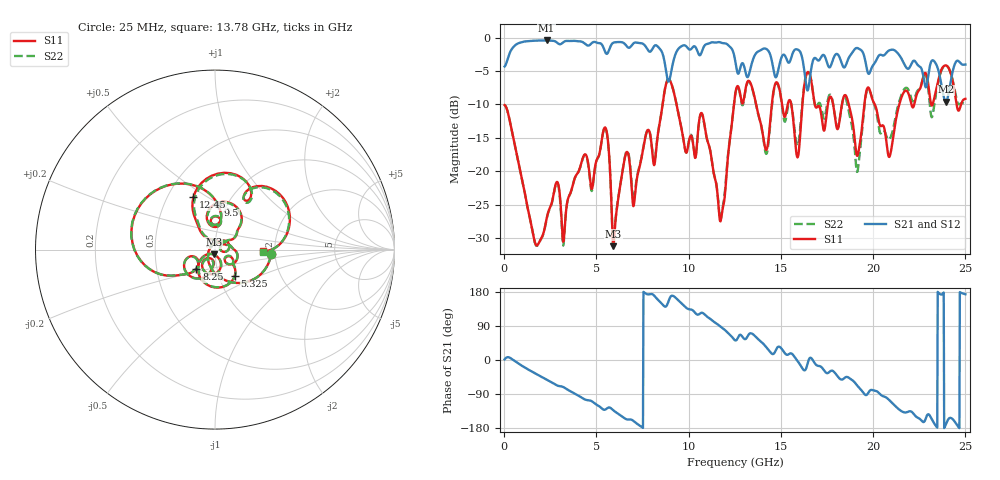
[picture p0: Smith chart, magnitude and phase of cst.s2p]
! R_s4_lshape_n0: L-shaped planes (24 × 16 mm minus an 8 × 6 mm corner), via L1 → L4, no return via
! stackup: 4-layer 1.6 mm FR-4
! ports: 1 L1, 2 L4
! CST Studio Suite 2025.5 Release from 2025-05-30, time domain (FIT, hexahedral, PBA), 283712 mesh cells, 70 s
! mesh: {'lpw': 20, 'lpb': 20, 'minstep': 0.0, 'ratio': 20}; ports: port 1 (face); port 2 (face)
! interpolated from CST's 1001 samples to the case grid
# Hz S RI R 50
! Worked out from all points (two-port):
!   1000 points, 25 MHz to 25 GHz, reference 50 ohm
!   highest |S21| = -0.43 dB at 2.3 GHz (marker M1); lowest = -9.6 dB at 23.95 GHz (marker M2)
!   |S21| within 3 dB of the highest: 163.7 MHz to 8.681 GHz (8.517 GHz wide, 193 % of centre); 9.182 GHz to 12.52 GHz (3.339 GHz wide, 30.8 % of centre)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
!   lowest |S11| = -31.2 dB at 5.925 GHz (marker M3), VSWR 1.06, Z = 49.3 - j2.65 ohm
!   |S11| at or under -10 dB: start of sweep to 8.589 GHz; 9.344 GHz to 12.45 GHz (3.108 GHz wide, 28.5 % of centre); 20.09 GHz to 21.42 GHz (1.325 GHz wide, 6.38 % of centre)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
!   |S22| runs from -31.1 to -4.2 dB; largest |S21 - S12| = 0.00025
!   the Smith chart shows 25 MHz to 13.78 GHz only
!   S11 on the Smith chart (normalised r, x): 25 MHz: 1.90, -0.11; 5.325 GHz: 1.19, -0.36; 8.25 GHz: 0.79, -0.18; 9.5 GHz: 0.91, +0.48; 12.45 GHz: 0.67, +0.43; 13.78 GHz: 1.73, -0.04
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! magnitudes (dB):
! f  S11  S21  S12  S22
! 25 MHz  -10.1  -4.3  -4.3  -10.1
! 1.675 GHz  -30.7  -0.5  -0.5  -30.7
! 2.3 GHz  -27.1  -0.4  -0.4  -27.2
! 4.2 GHz  -18.6  -0.6  -0.6  -18.6
! 5.325 GHz  -14.7  -1.2  -1.2  -14.7
! 5.925 GHz  -31.2  -0.8  -0.8  -31.0
! 6.6 GHz  -17.3  -1.1  -1.1  -17.2
! 8.25 GHz  -16.5  -1.2  -1.2  -16.4
! 8.35 GHz  -14.1  -1.4  -1.4  -14.0
! 9.5 GHz  -12.1  -1.5  -1.5  -12.1
! 10.75 GHz  -11.5  -1.9  -1.9  -11.6
! 11.75 GHz  -27.2  -0.8  -0.8  -27.0
! 12.45 GHz  -10.0  -2.5  -2.5  -10.1
! 12.53 GHz  -8.4  -3.5  -3.5  -8.5
! 13.78 GHz  -11.5  -2.1  -2.1  -11.5
! 14.22 GHz  -16.7  -1.7  -1.7  -17.4
! 14.8 GHz  -6.7  -5.5  -5.5  -6.9
! 15.9 GHz  -17.9  -1.8  -1.8  -16.2
! 16.68 GHz  -7.0  -4.2  -4.2  -6.9
! 20.85 GHz  -17.8  -1.9  -1.9  -15.2
! 23.95 GHz  -4.2  -9.6  -9.6  -4.2
! 25 GHz  -9.2  -4.0  -4.0  -9.9
